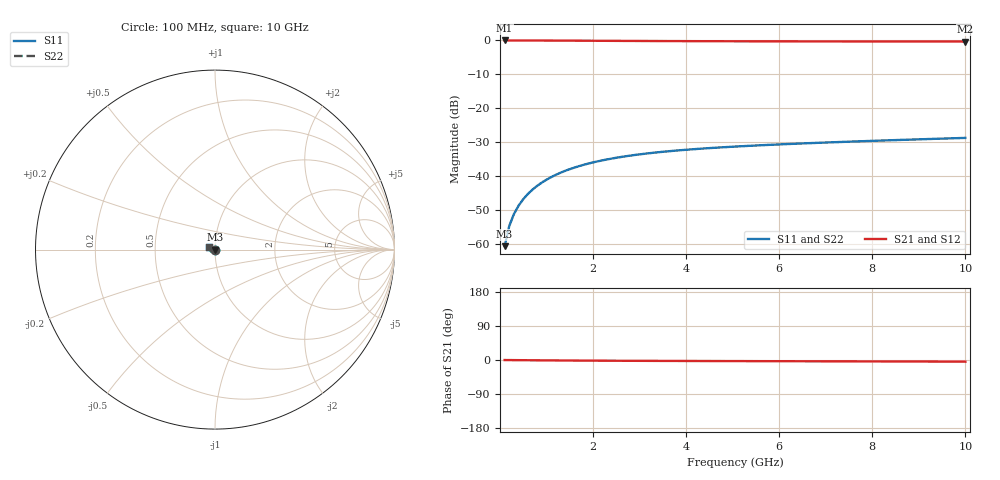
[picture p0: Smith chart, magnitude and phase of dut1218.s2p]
! Touchstone file exported from HFSS 2024.1.0
!  File:  C:/UserFiles/LocalFiles/RDL_TSV_Batchsim/temp_TSV1_1218_1780249209.aedt
!  Generated:  01:44:59 AM Jun  1, 2026
!  Design:  TSV1
!  Project:  temp_TSV1_1218_1780249209
!  Setup:  Setup1
!  Solution:  Sweep
! Variables:
!  dtsv = 10.07um
!  hbump = 3um
!  htsv = 62.86um
!  lrdl = 252.1521522um
!  p = 40
!  p1 = 59.21um
!  t = 500um
!  trdl = 3um
!  wrdl = 24.89489489um
# GHz S MA R 50.000000
! Terminal data exported
! Port[1] = TSV22_T1
! Port[2] = TSV22_T2
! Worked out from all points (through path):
!   100 points, 100 MHz to 10 GHz, reference 50 ohm
!   highest |S21| = 0.00 dB at 100 MHz (marker M1); lowest = -0.3 dB at 10 GHz (marker M2)
!   lowest |S11| = -60.8 dB at 100 MHz (marker M3), VSWR 1.00, Z = 50 - j0.0911 ohm
!   |S11| at or under -10 dB: start of sweep to end of sweep
!   |S22| runs from -60.8 to -28.8 dB; largest |S21 - S12| = 2.2e-15
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0.1  0.0009151 -84.5  0.9998 -0.1  0.9998 -0.1  0.0009151 -84.5
! Gamma 0 0 0 0
! Port Impedance 50 0 50 0
0.2  0.00182 -90.3  0.9997 -0.2  0.9997 -0.2  0.00182 -90.3
0.3  0.002726 -93.7  0.9995 -0.3  0.9995 -0.3  0.002726 -93.7
0.4  0.003628 -96.6  0.9993 -0.4  0.9993 -0.4  0.003628 -96.6
0.5  0.004522 -99.1  0.999 -0.5  0.999 -0.5  0.004522 -99.1
0.6  0.005404 -101.6  0.9986 -0.6  0.9986 -0.6  0.005404 -101.6
0.7  0.006273 -103.9  0.9981 -0.7  0.9981 -0.7  0.006273 -103.9
0.8  0.007126 -106.2  0.9977 -0.8  0.9977 -0.8  0.007126 -106.2
0.9  0.007963 -108.4  0.9971 -0.9  0.9971 -0.9  0.007963 -108.4
1.1  0.009579 -112.7  0.9959 -1.1  0.9959 -1.1  0.009579 -112.7
1.4  0.01185 -118.7  0.9939 -1.3  0.9939 -1.3  0.01185 -118.7
1.6  0.01325 -122.6  0.9925 -1.5  0.9925 -1.5  0.01325 -122.6
1.8  0.01457 -126.3  0.991 -1.6  0.991 -1.6  0.01457 -126.3
2.1  0.01638 -131.5  0.9887 -1.8  0.9887 -1.8  0.01638 -131.5
2.5  0.01851 -138.0  0.9858 -2.0  0.9858 -2.0  0.01851 -138.0
2.9  0.02035 -143.9  0.9831 -2.2  0.9831 -2.2  0.02035 -143.9
3.4  0.02231 -150.5  0.98 -2.4  0.98 -2.4  0.02231 -150.5
4.2  0.02487 -159.8  0.976 -2.6  0.976 -2.6  0.02487 -159.8
5.1  0.02718 -168.7  0.9725 -2.9  0.9725 -2.9  0.02718 -168.7
6.7  0.03051 178.5  0.9682 -3.4  0.9682 -3.4  0.03051 178.5
8.4  0.03358 167.6  0.9653 -3.9  0.9653 -3.9  0.03358 167.6
10  0.03636 159.2  0.9634 -4.3  0.9634 -4.3  0.03636 159.2
